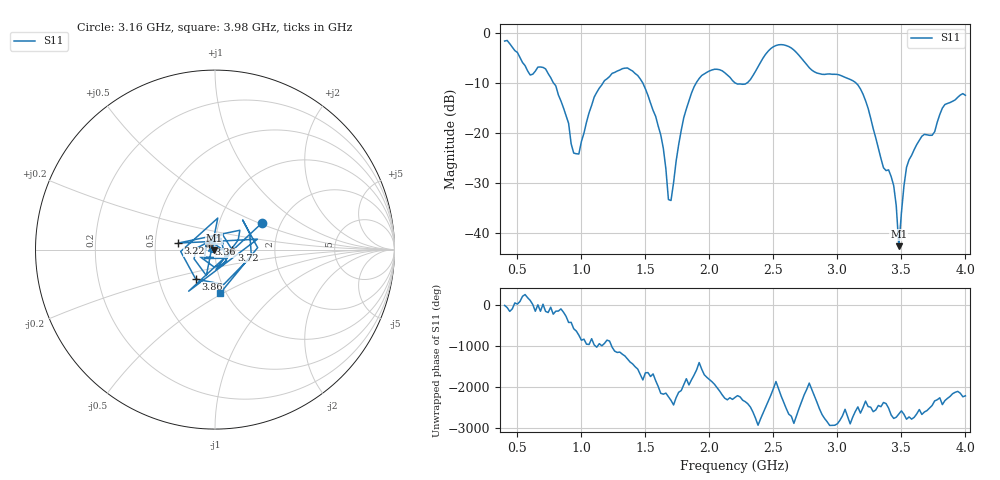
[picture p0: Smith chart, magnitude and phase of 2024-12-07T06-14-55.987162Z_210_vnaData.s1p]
!Created with skrf (http://scikit-rf.org).
# Hz S RI R 50.0
!freq ReS11 ImS11
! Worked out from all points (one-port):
!   181 points, 400 MHz to 4 GHz, reference 50 ohm
!   lowest |S11| = -42.6 dB at 3.48 GHz (marker M1), VSWR 1.01, Z = 49.4 - j0.424 ohm
!   |S11| at or under -10 dB: 780.2 MHz to 1.17 GHz (390.1 MHz wide, 40 % of centre); 1.478 GHz to 1.898 GHz (420 MHz wide, 24.9 % of centre); 3.143 GHz to end of sweep (the widest 3 of 4)
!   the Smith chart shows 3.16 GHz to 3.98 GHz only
!   S11 on the Smith chart (normalised r, x): 3.16 GHz: 1.60, +0.52; 3.22 GHz: 0.66, +0.05; 3.36 GHz: 0.94, +0.06; 3.72 GHz: 1.21, +0.00; 3.86 GHz: 0.77, -0.26; 3.98 GHz: 0.93, -0.49
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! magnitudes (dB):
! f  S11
! 400 MHz  -1.7
! 600 MHz  -8.5
! 720 MHz  -7.2
! 860 MHz  -15.0
! 980 MHz  -24.2
! 1.1 GHz  -12.9
! 1.3 GHz  -7.5
! 1.52 GHz  -12.5
! 1.62 GHz  -20.4
! 1.68 GHz  -33.3
! 1.7 GHz  -33.5
! 1.76 GHz  -22.4
! 1.94 GHz  -8.6
! 2.2 GHz  -10.0
! 2.5 GHz  -2.8
! 2.66 GHz  -3.5
! 3.1 GHz  -9.4
! 3.16 GHz  -10.4
! 3.22 GHz  -13.6
! 3.36 GHz  -27.0
! 3.44 GHz  -30.6
! 3.48 GHz  -42.6
! 3.52 GHz  -30.6
! 3.56 GHz  -25.4
! 3.72 GHz  -20.5
! 3.86 GHz  -14.1
! 3.98 GHz  -12.2
! 4 GHz  -12.5
